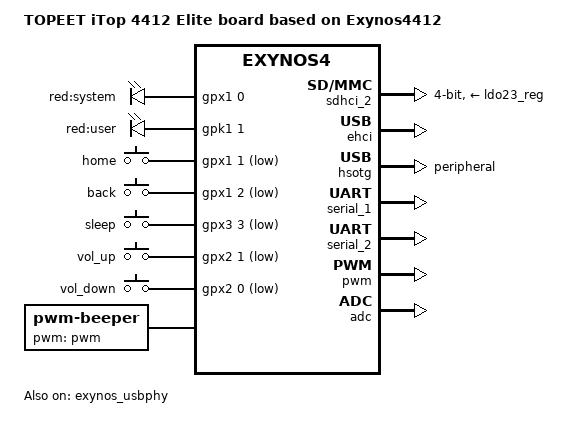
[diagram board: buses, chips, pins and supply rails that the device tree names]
/*
 * TOPEET's Exynos4412 based itop board device tree source
 *
 * Copyright (c) 2016 SUMOMO Computer Association
 *			https://www.sumomo.mobi
 *			Randy Li <ayaka@soulik.info>
 *			
 * Device tree source file for TOPEET iTop Exynos 4412 core board 
 * which is based on Samsung's Exynos4412 SoC.
 *
 * This program is free software; you can redistribute it and/or modify
 * it under the terms of the GNU General Public License version 2 as
 * published by the Free Software Foundation.
*/

/dts-v1/;
#include "exynos4412-itop-scp-core.dtsi"

/ {
	model = "TOPEET iTop 4412 Elite board based on Exynos4412";
	compatible = "topeet,itop4412-elite", "samsung,exynos4412", "samsung,exynos4";

	chosen {
		bootargs ="console=ttySAC2,115200";
		stdout-path = &serial_2;
	};
	
	leds {
		compatible = "gpio-leds";
		
		led2 {
			label = "red:system";
			gpios = <&gpx1 0 GPIO_ACTIVE_HIGH>;
			default-state = "off";
			linux,default-trigger = "heartbeat";
		};

		led3 {
			label = "red:user";
			gpios = <&gpk1 1 GPIO_ACTIVE_HIGH>;
			default-state = "off";
		};
	};

	gpio-keys {
		compatible = "gpio-keys";
		
		home {
			lable = "GPIO Key Home";
			linux,code = <KEY_HOME>;
			gpios = <&gpx1 1 GPIO_ACTIVE_LOW>;
		};

		back {
			lable = "GPIO Key Back";
			linux,code = <KEY_BACK>;
			gpios = <&gpx1 2 GPIO_ACTIVE_LOW>;
		};

		sleep {
			lable = "GPIO Key Sleep";
			linux,code = <KEY_POWER>;
			gpios = <&gpx3 3 GPIO_ACTIVE_LOW>;
		};

		vol_up {
			lable = "GPIO Key Vol+";
			linux,code = <KEY_UP>;
			gpios = <&gpx2 1 GPIO_ACTIVE_LOW>;
		};

		vol_down {
			lable = "GPIO Key Vol-";
			linux,code = <KEY_DOWN>;
			gpios = <&gpx2 0 GPIO_ACTIVE_LOW>;
		};
	};
	
	beep {
		compatible = "pwm-beeper";
		pwms = <&pwm>;
		pinctrl-0 = <&pwm0_out>;
		pinctrl-names = "default";
	};

};

&pinctrl_1 {
	ether-reset {
		samsung,pins = "gpc0-1";
		samsung,pin-function = <1>;
		samsung,pin-pud = <0>;
		samsung,pin-drv = <0>;
	};
};

&sdhci_2 {
	bus-width = <4>;
	pinctrl-0 = <&sd2_clk &sd2_cmd &sd2_bus4>;
	pinctrl-names = "default";
	broken-cd;
	cap-sd-highspeed;
	vmmc-supply = <&ldo23_reg>;
	vqmmc-supply = <&ldo17_reg>;
	status = "okay";
};

&ehci {
	status = "okay";
	/* In order to reset USB ethernet */
	samsung,vbus-gpio = <&gpc0 1 GPIO_ACTIVE_HIGH>;

	port@0 {
		status = "okay";
	};

	port@2 {
		status = "okay";
	};
};

&exynos_usbphy {
	status = "okay";
};

&hsotg {
	dr_mode = "peripheral";
	status = "okay";
};

&serial_1 {
	status = "okay";
};

&serial_2 {
	status = "okay";
};

&pwm {
	pinctrl-0 = <&pwm1_out>;
	pinctrl-names = "default";
	samsung,pwm-outputs = <1>;
	status = "okay";
};

&adc {
	status = "okay";
};
